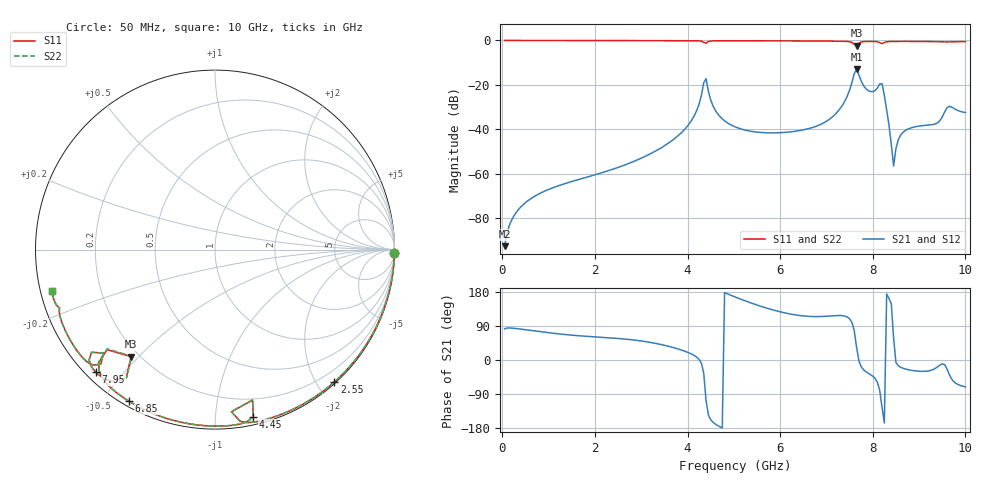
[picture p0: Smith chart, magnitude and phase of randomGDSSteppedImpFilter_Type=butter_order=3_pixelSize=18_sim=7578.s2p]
! freq	dB(S11)	phase(S11)	dB(S12)	phase(S12)
!  dB(S21)	phase(S21)	dB(S22)	phase(S22)
!S-par simulation data
#  GHz  S  DB  R 50
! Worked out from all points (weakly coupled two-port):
!   200 points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, 50 MHz to 10 GHz, reference 50 ohm
!   highest |S21| = -12.96 dB at 7.65 GHz (marker M1); lowest = -92.5 dB at 50 MHz (marker M2)
!   lowest |S11| = -2.4 dB at 7.65 GHz (marker M3), VSWR 7.25, Z = 8.5 - j23.8 ohm
!   |S11| at or under -10 dB: nowhere
!   |S22| runs from -2.5 to 0.0 dB; largest |S21 - S12| = 0
!   S11 on the Smith chart (normalised r, x): 50 MHz: open; 2.55 GHz: 0.02, -2.25; 4.45 GHz: 0.06, -1.25; 6.85 GHz: 0.02, -0.58; 7.95 GHz: 0.03, -0.42; 10 GHz: 0.03, -0.12
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0.05  -0.00 -1.0  -92.54 82.2  -92.54 82.2  -0.00 -1.0
1.75  -0.04 -33.3  -61.94 63.1  -61.94 63.1  -0.04 -33.3
2.55  -0.06 -48.0  -56.75 56.3  -56.75 56.3  -0.06 -48.0
3.4  -0.08 -63.2  -48.66 41.6  -48.66 41.6  -0.08 -63.2
4.05  -0.11 -75.0  -37.09 17.9  -37.09 17.9  -0.11 -75.1
4.4  -1.27 -76.0  -17.19 -107.1  -17.19 -107.1  -1.28 -76.0
4.45  -0.40 -77.1  -22.80 -144.7  -22.80 -144.7  -0.41 -77.1
4.65  -0.15 -83.0  -32.97 -173.0  -32.97 -173.0  -0.15 -83.0
5.05  -0.15 -90.2  -39.03 165.1  -39.03 165.1  -0.15 -90.3
6.7  -0.24 -117.1  -39.17 114.6  -39.17 114.6  -0.24 -117.1
6.85  -0.25 -119.6  -37.99 114.6  -37.99 114.6  -0.25 -119.6
7.35  -0.36 -128.9  -28.95 116.9  -28.95 116.9  -0.36 -129.0
7.65  -2.41 -128.0  -12.96 33.8  -12.96 33.8  -2.46 -128.0
7.95  -0.42 -134.2  -23.00 -38.3  -23.00 -38.3  -0.42 -134.1
8.2  -1.44 -137.1  -19.44 -125.0  -19.44 -125.0  -1.43 -137.1
8.35  -0.49 -137.9  -38.03 162.6  -38.03 162.6  -0.49 -138.0
8.45  -0.43 -140.3  -56.51 58.1  -56.51 58.1  -0.43 -140.4
8.55  -0.42 -142.3  -44.73 -14.9  -44.73 -14.9  -0.42 -142.4
8.7  -0.42 -145.1  -40.56 -23.6  -40.56 -23.6  -0.42 -145.1
9.4  -0.54 -156.8  -37.03 -18.0  -37.03 -18.0  -0.54 -156.8
9.65  -0.64 -159.7  -29.62 -37.7  -29.62 -37.7  -0.64 -159.8
10  -0.55 -165.8  -32.43 -71.0  -32.43 -71.0  -0.55 -165.8
